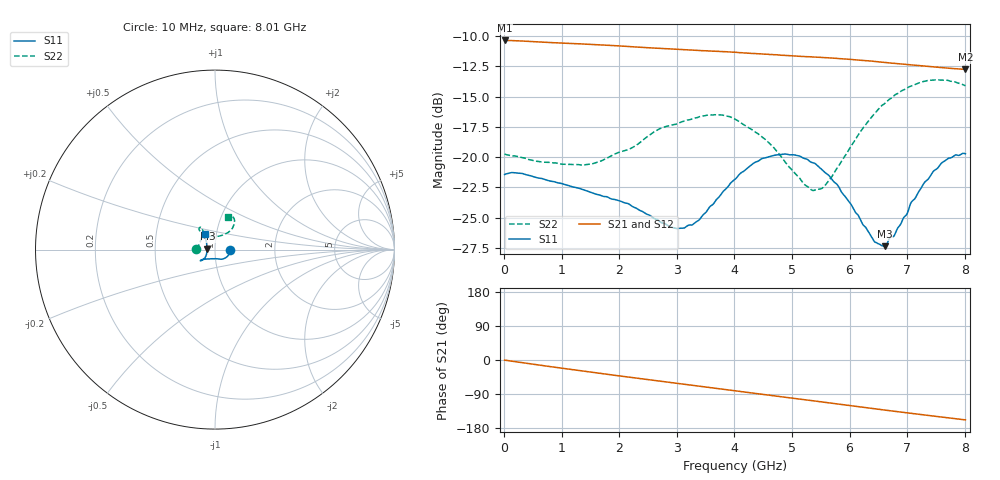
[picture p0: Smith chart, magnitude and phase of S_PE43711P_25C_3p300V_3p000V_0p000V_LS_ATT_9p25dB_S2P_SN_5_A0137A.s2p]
! Device ID: PE43711P
! File Path: z:\PE43711P\CHAR_NOM_04282014\AMB\3p300\LS_ATT_9p25dB\PE43711P_AMB_3p300V_3p000V_0p000V_LS_ATT_9p25dB_S2P_SN_5_A0137A.s2p
! Serial: 5
! Lot: A0137A
! Temp: 25C
! VDD: 3.300
! VSS: 0.000
! Control_Hi: 3.000
! Control_Lo: 0.000
! Attenuation Step: 9.25dB
! Port 1: RF1
! Port 2: RF2
! ThroughPath:1-2
! IDD: 0.0001275986
! ISS: -1.37e-007
#  Hz  S  RI  R  50
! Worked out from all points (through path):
!   801 points, 10 MHz to 8.01 GHz, reference 50 ohm
!   highest |S21| = -10.36 dB at 10 MHz (marker M1); lowest = -12.7 dB at 8.01 GHz (marker M2)
!   group delay of S21, straight-line fit = 54.5 ps
!   lowest |S11| = -27.4 dB at 6.61 GHz (marker M3), VSWR 1.09, Z = 45.9 + j0.394 ohm
!   |S11| at or under -10 dB: start of sweep to end of sweep
!   |S22| runs from -22.8 to -13.6 dB; largest |S21 - S12| = 0.00063
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1e7  0.0847 -0.000231  0.3034 -0.00147  0.3037 -0.00162  -0.1031 0.000758
3.1e8  0.0842 -0.0156  0.2996 -0.037  0.2998 -0.0369  -0.0992 0.0077
1.35e9  0.0563 -0.0475  0.2574 -0.1411  0.2576 -0.1412  -0.0832 0.0408
2.19e9  0.0337 -0.0537  0.1996 -0.2052  0.1998 -0.2052  -0.0694 0.0831
2.68e9  0.0173 -0.0519  0.1601 -0.2318  0.1602 -0.2319  -0.0691 0.1104
2.99e9  0.00225 -0.0506  0.1335 -0.2455  0.1336 -0.2456  -0.0718 0.1165
3.28e9  -0.0141 -0.0508  0.1074 -0.255  0.1075 -0.2551  -0.0759 0.1226
3.68e9  -0.0409 -0.0523  0.0712 -0.2642  0.0711 -0.2643  -0.0852 0.1229
4.01e9  -0.0606 -0.0537  0.0404 -0.2681  0.0403 -0.2682  -0.0892 0.1123
4.34e9  -0.0756 -0.0568  0.0101 -0.2678  0.0101 -0.268  -0.08 0.1
4.69e9  -0.0816 -0.0607  -0.0213 -0.264  -0.0215 -0.264  -0.0641 0.0879
5.06e9  -0.0802 -0.0628  -0.0533 -0.2562  -0.0534 -0.2563  -0.0352 0.0775
5.35e9  -0.074 -0.0595  -0.0773 -0.2476  -0.0774 -0.2478  -0.00725 0.0726
5.6e9  -0.0658 -0.0543  -0.0975 -0.2383  -0.0973 -0.2383  0.0208 0.0749
5.8e9  -0.0585 -0.0486  -0.1129 -0.2293  -0.1131 -0.2292  0.0422 0.0809
6.42e9  -0.0439 -0.0106  -0.1547 -0.1947  -0.1549 -0.1949  0.0951 0.1163
6.61e9  -0.0426 0.00428  -0.165 -0.1827  -0.165 -0.183  0.1026 0.1315
6.68e9  -0.0442 0.0111  -0.1686 -0.1783  -0.1686 -0.1785  0.1049 0.1373
7.05e9  -0.048 0.0415  -0.1855 -0.1533  -0.1853 -0.1534  0.1084 0.1634
7.45e9  -0.0542 0.0683  -0.1996 -0.1255  -0.1997 -0.1256  0.0969 0.1841
7.7e9  -0.0572 0.08  -0.2066 -0.108  -0.2066 -0.1078  0.0849 0.1895
8.01e9  -0.0548 0.0875  -0.2137 -0.0863  -0.214 -0.0857  0.0729 0.1832
